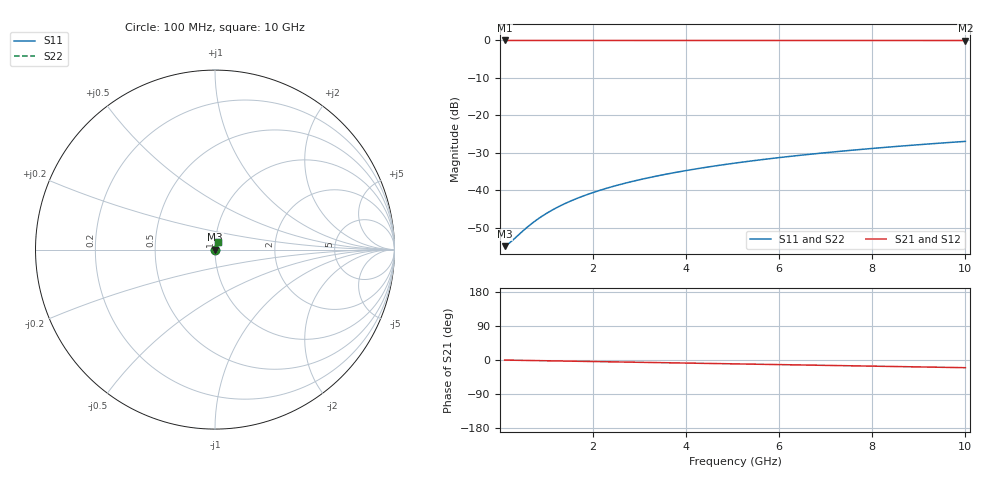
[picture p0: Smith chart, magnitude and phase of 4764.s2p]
# Hz S RI R 50.00
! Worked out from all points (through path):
!   100 points, 100 MHz to 10 GHz, reference 50 ohm
!   highest |S21| = -0.02 dB at 100 MHz (marker M1); lowest = 0.0 dB at 10 GHz (marker M2)
!   group delay of S21, straight-line fit = 5.64 ps
!   lowest |S11| = -54.9 dB at 100 MHz (marker M3), VSWR 1.00, Z = 50.2 + j0.0453 ohm
!   |S11| at or under -10 dB: start of sweep to end of sweep
!   |S22| runs from -54.9 to -27.0 dB; largest |S21 - S12| = 0
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1e8  0.00173 0.000452  0.9983 -0.00352  0.9983 -0.00352  0.00173 0.000452
2e8  0.00175 0.000903  0.9982 -0.00703  0.9982 -0.00703  0.00175 0.000903
6e8  0.00182 0.00271  0.998 -0.0211  0.998 -0.0211  0.00182 0.00271
7e8  0.00184 0.00316  0.9979 -0.0246  0.9979 -0.0246  0.00184 0.00316
9e8  0.0019 0.00406  0.9977 -0.0316  0.9977 -0.0316  0.0019 0.00406
1.1e9  0.00197 0.00496  0.9974 -0.0387  0.9974 -0.0387  0.00197 0.00496
1.3e9  0.00205 0.00586  0.9971 -0.0457  0.9971 -0.0457  0.00205 0.00586
1.5e9  0.00214 0.00675  0.9968 -0.0527  0.9968 -0.0527  0.00214 0.00675
1.8e9  0.0023 0.0081  0.9961 -0.0633  0.9961 -0.0633  0.0023 0.0081
2.1e9  0.00249 0.00943  0.9954 -0.0738  0.9954 -0.0738  0.00249 0.00943
2.5e9  0.00279 0.0112  0.9942 -0.0878  0.9942 -0.0878  0.00279 0.0112
2.9e9  0.00314 0.013  0.9928 -0.1018  0.9928 -0.1018  0.00314 0.013
3.4e9  0.00364 0.0152  0.9908 -0.1193  0.9908 -0.1193  0.00364 0.0152
3.8e9  0.00409 0.0169  0.989 -0.1333  0.989 -0.1333  0.00409 0.0169
4.2e9  0.0046 0.0186  0.987 -0.1473  0.987 -0.1473  0.0046 0.0186
4.6e9  0.00516 0.0203  0.9847 -0.1612  0.9847 -0.1612  0.00516 0.0203
5.1e9  0.00592 0.0225  0.9817 -0.1786  0.9817 -0.1786  0.00592 0.0225
5.9e9  0.00729 0.0258  0.9761 -0.2063  0.9761 -0.2063  0.00729 0.0258
6.7e9  0.00886 0.029  0.9697 -0.2339  0.9697 -0.2339  0.00886 0.029
7.5e9  0.0106 0.0322  0.9625 -0.2613  0.9625 -0.2613  0.0106 0.0322
8.4e9  0.0128 0.0356  0.9535 -0.292  0.9535 -0.292  0.0128 0.0356
1e10  0.0172 0.0414  0.935 -0.3457  0.935 -0.3457  0.0172 0.0414
